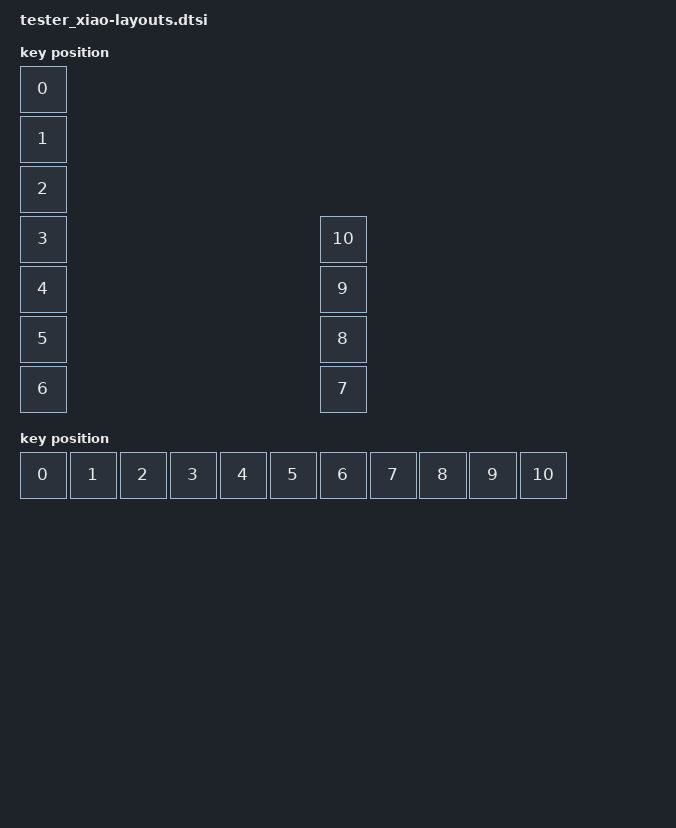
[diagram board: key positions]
/*
 * Copyright (c) 2025 The ZMK Contributors
 *
 * SPDX-License-Identifier: MIT
 */

#include <physical_layouts.dtsi>

// The tester might not have any physical keys at all, so these
// physical layouts are pretty much imaginary.

/ {
    tester_position_map {
        compatible = "zmk,physical-layout-position-map";
        complete;

        pinout_map: pinout_positions {
            physical-layout = <&physical_layout0>;
            positions = <0 1 2 3 4 5 6 7 8 9 10>;
        };
        inline_map: single_row_positions {
            physical-layout = <&physical_layout1>;
            positions = <0 1 2 3 4 5 6 7 8 9 10>;
        };
    };

    physical_layout0: physical_layout_0 {
        compatible = "zmk,physical-layout";
        display-name = "XIAO Pinout";

        // Map key positions to the XIAO pinout.
        keys  //                     w   h    x    y    rot   rx   ry
            = <&key_physical_attrs 100 100    0    0      0    0    0>
            , <&key_physical_attrs 100 100    0  100      0    0    0>
            , <&key_physical_attrs 100 100    0  200      0    0    0>
            , <&key_physical_attrs 100 100    0  300      0    0    0>
            , <&key_physical_attrs 100 100    0  400      0    0    0>
            , <&key_physical_attrs 100 100    0  500      0    0    0>
            , <&key_physical_attrs 100 100    0  600      0    0    0>
            , <&key_physical_attrs 100 100  600  600      0    0    0>
            , <&key_physical_attrs 100 100  600  500      0    0    0>
            , <&key_physical_attrs 100 100  600  400      0    0    0>
            , <&key_physical_attrs 100 100  600  300      0    0    0>
            ;
    };

    physical_layout1: physical_layout_1 {
        compatible = "zmk,physical-layout";
        display-name = "Single Row";

        // Single row of eleven "keys".
        keys  //                     w   h    x    y    rot   rx   ry
            = <&key_physical_attrs 100 100    0    0      0    0    0>
            , <&key_physical_attrs 100 100  100    0      0    0    0>
            , <&key_physical_attrs 100 100  200    0      0    0    0>
            , <&key_physical_attrs 100 100  300    0      0    0    0>
            , <&key_physical_attrs 100 100  400    0      0    0    0>
            , <&key_physical_attrs 100 100  500    0      0    0    0>
            , <&key_physical_attrs 100 100  600    0      0    0    0>
            , <&key_physical_attrs 100 100  700    0      0    0    0>
            , <&key_physical_attrs 100 100  800    0      0    0    0>
            , <&key_physical_attrs 100 100  900    0      0    0    0>
            , <&key_physical_attrs 100 100 1000    0      0    0    0>
            ;
    };
};
